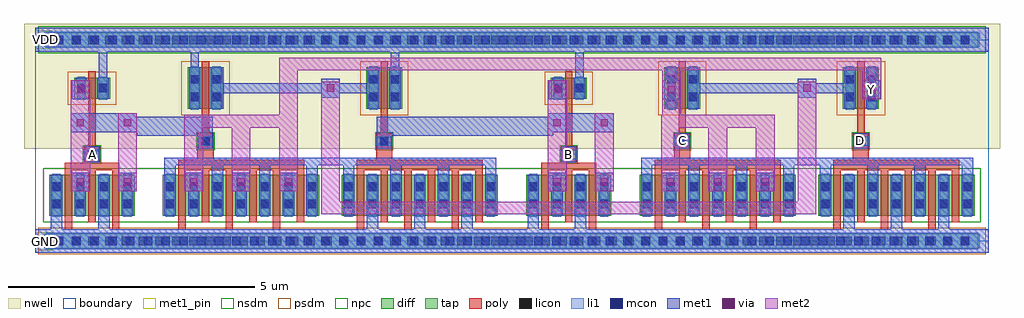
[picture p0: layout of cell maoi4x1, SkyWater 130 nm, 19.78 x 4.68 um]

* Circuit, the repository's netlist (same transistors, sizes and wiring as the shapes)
** sch_path: /foss/designs/maoi4x1.sch
.subckt maoi4x1 A VDD GND B Y D C
*.PININFO A:I VDD:B GND:B B:I Y:O D:I C:I
XM9 Anot A GND GND sky130_fd_pr__nfet_01v8 L=0.15 W=2.52 nf=3
XM2 Y Anot net1 GND sky130_fd_pr__nfet_01v8 L=0.15 W=5.04 nf=6
XM5 net3 Anot VDD VDD sky130_fd_pr__pfet_01v8 L=0.15 W=0.84 nf=1
XM10 Anot A VDD VDD sky130_fd_pr__pfet_01v8 L=0.15 W=0.42 nf=1
XM7 net3 Bnot VDD VDD sky130_fd_pr__pfet_01v8 L=0.15 W=0.84 nf=1
XM8 Y D net3 VDD sky130_fd_pr__pfet_01v8 L=0.15 W=0.84 nf=1
XM6 Y C net3 VDD sky130_fd_pr__pfet_01v8 L=0.15 W=0.84 nf=1
XM4 Y C net2 GND sky130_fd_pr__nfet_01v8 L=0.15 W=5.04 nf=6
XM3 net2 D GND GND sky130_fd_pr__nfet_01v8 L=0.15 W=5.04 nf=6
XM1 net1 Bnot GND GND sky130_fd_pr__nfet_01v8 L=0.15 W=5.04 nf=6
XM11 Bnot B GND GND sky130_fd_pr__nfet_01v8 L=0.15 W=2.52 nf=3
XM12 Bnot B VDD VDD sky130_fd_pr__pfet_01v8 L=0.15 W=0.42 nf=1
.ends

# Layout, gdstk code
import gdstk
lib = gdstk.Library(unit=1e-6, precision=1e-09)
def R(c, l, rs):  # rectangles x0, y0, x1, y1
    for r in rs: c.add(gdstk.rectangle(r[:2], r[2:], *l))
def A(c, l, x, y, w, h, nx, ny, dx, dy):  # array of equal rectangles
    R(c, l, [(x+i*dx, y+j*dy, x+i*dx+w, y+j*dy+h) for i in range(nx) for j in range(ny)])
nwell = (64, 20)
diff = (65, 20)
tap = (65, 44)
poly = (66, 20)
licon = (66, 44)
li1 = (67, 20)
mcon = (67, 44)
met1_pin = (68, 16)
met1 = (68, 20)
via = (68, 44)
met2 = (69, 20)
nsdm = (93, 44)
psdm = (94, 20)
npc = (95, 20)
boundary = (235, 4)

sky130_fd_pr__nfet_01v8_ = lib.new_cell('sky130_fd_pr__nfet_01v8_RPKUUV')
R(sky130_fd_pr__nfet_01v8_, diff, [(-0.865,-0.42,0.865,0.42)])
R(sky130_fd_pr__nfet_01v8_, poly, [(-0.555,-0.695,-0.405,0.55), (0.405,-0.695,0.555,0.55), (-0.075,-0.55,0.075,0.695)])
A(sky130_fd_pr__nfet_01v8_, licon, -0.805, -0.255, 0.17, 0.17, 4, 2, 0.48, 0.34)
A(sky130_fd_pr__nfet_01v8_, li1, -0.805, -0.44, 0.17, 0.88, 4, 1, 0.48, 0)
A(sky130_fd_pr__nfet_01v8_, mcon, -0.805, -0.265, 0.17, 0.17, 4, 2, 0.48, 0.36)
A(sky130_fd_pr__nfet_01v8_, met1, -0.835, -0.42, 0.23, 0.84, 4, 1, 0.48, 0)
R(sky130_fd_pr__nfet_01v8_, nsdm, [(-0.99,-0.545,0.99,0.545)])
sky130_fd_pr__nfet_01v8_.add(gdstk.Label('D0', (-0.72,0), layer=67, texttype=5))
sky130_fd_pr__nfet_01v8_.add(gdstk.Label('S1', (-0.24,0), layer=67, texttype=5))
sky130_fd_pr__nfet_01v8_.add(gdstk.Label('D2', (0.24,0), layer=67, texttype=5))
sky130_fd_pr__nfet_01v8_.add(gdstk.Label('S2', (0.72,0), layer=67, texttype=5))

c_sky130_fd_pr__nfet_01v8_ = lib.new_cell('sky130_fd_pr__nfet_01v8_6WXBLA')
R(c_sky130_fd_pr__nfet_01v8_, diff, [(-1.585,-0.42,1.585,0.42)])
A(c_sky130_fd_pr__nfet_01v8_, poly, -1.275, -0.695, 0.15, 1.245, 3, 1, 0.96, 0)
A(c_sky130_fd_pr__nfet_01v8_, poly, -0.795, -0.55, 0.15, 1.245, 3, 1, 0.96, 0)
A(c_sky130_fd_pr__nfet_01v8_, licon, -1.525, -0.255, 0.17, 0.17, 7, 2, 0.48, 0.34)
A(c_sky130_fd_pr__nfet_01v8_, li1, -1.525, -0.44, 0.17, 0.88, 7, 1, 0.48, 0)
A(c_sky130_fd_pr__nfet_01v8_, mcon, -1.525, -0.265, 0.17, 0.17, 7, 2, 0.48, 0.36)
A(c_sky130_fd_pr__nfet_01v8_, met1, -1.555, -0.42, 0.23, 0.84, 7, 1, 0.48, 0)
R(c_sky130_fd_pr__nfet_01v8_, nsdm, [(-1.71,-0.545,1.71,0.545)])
c_sky130_fd_pr__nfet_01v8_.add(gdstk.Label('D0', (-1.44,0), layer=67, texttype=5))
c_sky130_fd_pr__nfet_01v8_.add(gdstk.Label('S1', (-0.96,0), layer=67, texttype=5))
c_sky130_fd_pr__nfet_01v8_.add(gdstk.Label('D2', (-0.48,0), layer=67, texttype=5))
c_sky130_fd_pr__nfet_01v8_.add(gdstk.Label('S3', (0,0), layer=67, texttype=5))
c_sky130_fd_pr__nfet_01v8_.add(gdstk.Label('D4', (0.48,0), layer=67, texttype=5))
c_sky130_fd_pr__nfet_01v8_.add(gdstk.Label('S5', (0.96,0), layer=67, texttype=5))

sky130_fd_pr__pfet_01v8_ = lib.new_cell('sky130_fd_pr__pfet_01v8_YNU6YZ')
R(sky130_fd_pr__pfet_01v8_, nwell, [(-0.545,-0.52,0.545,0.52)])
R(sky130_fd_pr__pfet_01v8_, diff, [(-0.365,-0.21,0.365,0.21)])
R(sky130_fd_pr__pfet_01v8_, poly, [(-0.075,-0.34,0.075,0.34)])
R(sky130_fd_pr__pfet_01v8_, licon, [(-0.305,-0.085,-0.135,0.085), (0.135,-0.085,0.305,0.085)])
R(sky130_fd_pr__pfet_01v8_, li1, [(-0.305,-0.23,-0.135,0.23), (0.135,-0.23,0.305,0.23)])
R(sky130_fd_pr__pfet_01v8_, mcon, [(-0.305,-0.085,-0.135,0.085), (0.135,-0.085,0.305,0.085)])
R(sky130_fd_pr__pfet_01v8_, met1, [(-0.335,-0.21,-0.105,0.21), (0.105,-0.21,0.335,0.21)])
R(sky130_fd_pr__pfet_01v8_, psdm, [(-0.49,-0.335,0.49,0.335)])
sky130_fd_pr__pfet_01v8_.add(gdstk.Label('D', (-0.22,0), layer=67, texttype=5))
sky130_fd_pr__pfet_01v8_.add(gdstk.Label('S', (0.22,0), layer=67, texttype=5))

c_sky130_fd_pr__pfet_01v8_ = lib.new_cell('sky130_fd_pr__pfet_01v8_W5J8BK')
R(c_sky130_fd_pr__pfet_01v8_, nwell, [(-0.545,-0.73,0.545,0.73)])
R(c_sky130_fd_pr__pfet_01v8_, diff, [(-0.365,-0.42,0.365,0.42)])
R(c_sky130_fd_pr__pfet_01v8_, poly, [(-0.075,-0.55,0.075,0.55)])
R(c_sky130_fd_pr__pfet_01v8_, licon, [(-0.305,-0.255,-0.135,-0.085), (0.135,-0.255,0.305,-0.085), (-0.305,0.085,-0.135,0.255), (0.135,0.085,0.305,0.255)])
R(c_sky130_fd_pr__pfet_01v8_, li1, [(-0.305,-0.44,-0.135,0.44), (0.135,-0.44,0.305,0.44)])
R(c_sky130_fd_pr__pfet_01v8_, mcon, [(-0.305,-0.265,-0.135,-0.095), (0.135,-0.265,0.305,-0.095), (-0.305,0.095,-0.135,0.265), (0.135,0.095,0.305,0.265)])
R(c_sky130_fd_pr__pfet_01v8_, met1, [(-0.335,-0.42,-0.105,0.42), (0.105,-0.42,0.335,0.42)])
R(c_sky130_fd_pr__pfet_01v8_, psdm, [(-0.49,-0.545,0.49,0.545)])
c_sky130_fd_pr__pfet_01v8_.add(gdstk.Label('D', (-0.22,0), layer=67, texttype=5))
c_sky130_fd_pr__pfet_01v8_.add(gdstk.Label('S', (0.22,0), layer=67, texttype=5))

maoi4x1 = lib.new_cell('maoi4x1')
R(maoi4x1, nwell, [(-0.23,1.87,19.55,4.41)])
R(maoi4x1, tap, [(0.18,-0.145,19.14,0.145), (0.18,3.935,19.14,4.225)])
R(maoi4x1, poly, [(0.595,1.44,1.705,1.59), (2.895,1.44,5.445,1.65), (6.515,1.44,9.065,1.65), (10.255,1.44,11.365,1.59), (12.555,1.44,15.105,1.65), (16.175,1.44,18.725,1.65), (0.985,1.59,1.315,1.92), (10.645,1.59,10.975,1.92), (3.285,1.65,3.615,2.19), (6.905,1.65,7.235,2.19), (12.945,1.65,13.275,2.19), (16.565,1.65,16.895,2.19), (1.075,1.92,1.225,2.95), (10.735,1.92,10.885,2.95), (3.375,2.19,3.525,2.8), (6.995,2.19,7.145,2.8), (13.035,2.19,13.185,2.8), (16.655,2.19,16.805,2.8)])
A(maoi4x1, licon, 0.395, -0.085, 0.17, 0.17, 55, 2, 0.34, 4.08)
R(maoi4x1, licon, [(1.065,1.67,1.235,1.84), (10.725,1.67,10.895,1.84), (3.365,1.94,3.535,2.11), (6.985,1.94,7.155,2.11), (13.025,1.94,13.195,2.11), (16.645,1.94,16.815,2.11)])
R(maoi4x1, li1, [(0.21,-0.165,19.11,0.165), (0.985,1.66,1.315,1.85), (10.645,1.66,10.975,1.85), (3.285,1.93,3.615,2.12), (6.905,1.93,7.235,2.12), (12.945,1.93,13.275,2.12), (16.565,1.93,16.895,2.12), (0.21,3.915,19.11,4.245)])
A(maoi4x1, mcon, 0.395, -0.085, 0.17, 0.17, 52, 2, 0.36, 4.08)
R(maoi4x1, mcon, [(1.065,1.67,1.235,1.84), (10.725,1.67,10.895,1.84), (3.365,1.94,3.535,2.11), (6.985,1.94,7.155,2.11), (13.025,1.94,13.195,2.11), (16.645,1.94,16.815,2.11)])
R(maoi4x1, met1_pin, [(0.05,-0.18,0.35,0.18), (1,1.6,1.3,1.92), (10.66,1.6,10.96,1.92), (12.96,1.87,13.26,2.19), (16.58,1.87,16.88,2.19), (16.77,2.88,17.13,3.26), (0.05,3.9,0.35,4.26)])
A(maoi4x1, met1, 6.715, 0.24, 0.23, 0.36, 3, 1, 0.96, 0)
A(maoi4x1, met1, 16.375, 0.24, 0.23, 0.36, 3, 1, 0.96, 0)
A(maoi4x1, met1, 3.02, 1.01, 0.38, 0.38, 3, 1, 0.96, 0)
A(maoi4x1, met1, 12.68, 1.01, 0.38, 0.38, 3, 1, 0.96, 0)
A(maoi4x1, met1, 2.615, 1.25, 0.23, 0.29, 4, 1, 0.96, 0)
A(maoi4x1, met1, 6.235, 1.25, 0.23, 0.29, 4, 1, 0.96, 0)
A(maoi4x1, met1, 12.275, 1.25, 0.23, 0.29, 4, 1, 0.96, 0)
A(maoi4x1, met1, 15.895, 1.25, 0.23, 0.29, 4, 1, 0.96, 0)
R(maoi4x1, met1, [(0,-0.24,19.32,0.24), (0.315,0.24,0.545,0.6), (1.275,0.24,1.505,0.6), (9.975,0.24,10.205,0.6), (10.935,0.24,11.165,0.6), (0.72,1.01,1.1,1.39), (1.68,1.01,2.06,1.39), (10.38,1.01,10.76,1.39), (11.34,1.01,11.72,1.39), (2.615,1.54,9.345,1.69), (12.275,1.54,19.005,1.69), (1,1.6,1.3,1.92), (10.66,1.6,10.96,1.92), (3.3,1.87,3.6,2.14), (6.92,1.87,7.22,2.14), (12.96,1.87,13.26,2.19), (16.58,1.87,16.88,2.19), (2.06,2.14,3.6,2.21), (6.92,2.14,10.5,2.21), (0.72,2.21,3.6,2.52), (6.92,2.21,11.72,2.52), (0.72,2.52,2.06,2.59), (10.38,2.52,11.72,2.59), (0.74,2.88,1.1,3.26), (10.4,2.88,10.76,3.26), (12.71,2.88,13.07,3.26), (16.77,2.88,17.13,3.26), (5.79,2.91,6.17,3), (15.45,2.91,15.83,3), (3.555,3,6.965,3.2), (13.215,3,16.625,3.2), (5.79,3.2,6.17,3.29), (15.45,3.2,15.83,3.29), (1.285,3.25,1.455,3.84), (10.945,3.25,11.115,3.84), (3.145,3.4,3.315,3.84), (7.205,3.4,7.375,3.84), (0,3.84,19.32,4.32)])
A(maoi4x1, via, 3.135, 1.125, 0.15, 0.15, 3, 1, 0.96, 0)
A(maoi4x1, via, 12.795, 1.125, 0.15, 0.15, 3, 1, 0.96, 0)
R(maoi4x1, via, [(0.835,1.125,0.985,1.275), (1.795,1.125,1.945,1.275), (10.495,1.125,10.645,1.275), (11.455,1.125,11.605,1.275), (0.835,2.325,0.985,2.475), (1.795,2.325,1.945,2.475), (10.495,2.325,10.645,2.475), (11.455,2.325,11.605,2.475), (0.845,2.995,0.995,3.145), (10.505,2.995,10.655,3.145), (12.815,2.995,12.965,3.145), (16.875,2.995,17.025,3.145), (5.905,3.025,6.055,3.175), (15.565,3.025,15.715,3.175)])
A(maoi4x1, met2, 3.02, 1.01, 0.38, 1.29, 3, 1, 0.96, 0)
A(maoi4x1, met2, 12.68, 1.01, 0.38, 1.29, 3, 1, 0.96, 0)
R(maoi4x1, met2, [(5.79,0.54,15.83,0.8), (5.79,0.8,6.17,3.23), (15.45,0.8,15.83,3.23), (0.72,1.01,1.11,3.26), (1.68,1.01,2.06,2.59), (10.38,1.01,10.77,3.26), (11.34,1.01,11.72,2.59), (3.02,2.3,5.32,2.56), (12.68,2.3,14.98,2.56), (4.94,2.56,5.32,3.46), (12.7,2.56,13.08,3.46), (16.76,2.88,17.14,3.46), (4.94,3.46,17.14,3.72)])
R(maoi4x1, nsdm, [(2.14,0.385,2.46,1.475), (5.88,0.385,6.08,1.475), (9.5,0.385,9.82,1.475), (11.8,0.385,12.12,1.475), (15.54,0.385,15.74,1.475), (0.055,3.81,19.265,4.35)])
R(maoi4x1, psdm, [(0.055,-0.27,19.265,0.27)])
R(maoi4x1, npc, [(0.965,1.57,1.335,1.94), (10.625,1.57,10.995,1.94), (3.265,1.84,3.635,2.21), (6.885,1.84,7.255,2.21), (12.925,1.84,13.295,2.21), (16.545,1.84,16.915,2.21)])
R(maoi4x1, boundary, [(0,0,19.32,4.08)])
maoi4x1.add(gdstk.Reference(sky130_fd_pr__nfet_01v8_, (1.15,0.93)))
maoi4x1.add(gdstk.Reference(c_sky130_fd_pr__nfet_01v8_, (4.17,0.93)))
maoi4x1.add(gdstk.Reference(c_sky130_fd_pr__nfet_01v8_, (7.79,0.93)))
maoi4x1.add(gdstk.Reference(sky130_fd_pr__nfet_01v8_, (10.81,0.93)))
maoi4x1.add(gdstk.Reference(c_sky130_fd_pr__nfet_01v8_, (13.83,0.93)))
maoi4x1.add(gdstk.Reference(sky130_fd_pr__pfet_01v8_, (1.15,3.1)))
maoi4x1.add(gdstk.Reference(c_sky130_fd_pr__pfet_01v8_, (3.45,3.1)))
maoi4x1.add(gdstk.Reference(c_sky130_fd_pr__pfet_01v8_, (7.07,3.1)))
maoi4x1.add(gdstk.Reference(sky130_fd_pr__pfet_01v8_, (10.81,3.1)))
maoi4x1.add(gdstk.Reference(c_sky130_fd_pr__pfet_01v8_, (13.11,3.1)))
maoi4x1.add(gdstk.Reference(c_sky130_fd_pr__pfet_01v8_, (16.73,3.1)))
maoi4x1.add(gdstk.Reference(c_sky130_fd_pr__nfet_01v8_, (17.45,0.93)))
maoi4x1.add(gdstk.Label('A', (1.15,1.76), layer=68, texttype=5))
maoi4x1.add(gdstk.Label('B', (10.81,1.76), layer=68, texttype=5))
maoi4x1.add(gdstk.Label('C', (13.11,2.03), layer=68, texttype=5))
maoi4x1.add(gdstk.Label('D', (16.73,2.03), layer=68, texttype=5))
maoi4x1.add(gdstk.Label('Y', (16.95,3.07), layer=68, texttype=5))
maoi4x1.add(gdstk.Label('VDD', (0.2,4.08), layer=68, texttype=5))
maoi4x1.add(gdstk.Label('GND', (0.2,0), layer=68, texttype=5))

lib.write_gds('maoi4x1.gds')
